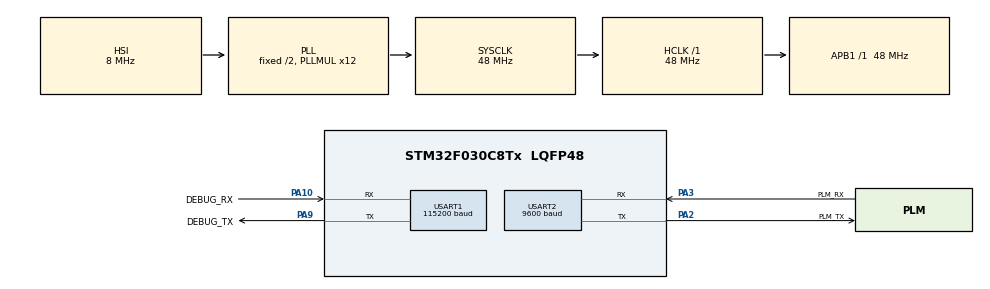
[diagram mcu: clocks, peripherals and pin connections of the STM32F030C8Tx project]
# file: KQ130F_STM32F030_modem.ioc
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Mcu.Family=STM32F0
Mcu.Name=STM32F030C8Tx
Mcu.Package=LQFP48
NVIC.TIM17_IRQn=true\:3\:0\:false\:false\:true\:false\:true\:true
NVIC.TimeBase=TIM17_IRQn
NVIC.TimeBaseIP=TIM17
NVIC.USART1_IRQn=true\:0\:0\:false\:false\:true\:true\:true\:true
NVIC.USART2_IRQn=true\:0\:0\:false\:false\:true\:true\:true\:true
PA10.GPIO_Label=DEBUG_RX
PA10.Mode=Asynchronous
PA10.Signal=USART1_RX
PA2.GPIO_Label=PLM_TX
PA2.Mode=Asynchronous
PA2.Signal=USART2_TX
PA3.GPIO_Label=PLM_RX
PA3.Mode=Asynchronous
PA3.Signal=USART2_RX
PA9.GPIO_Label=DEBUG_TX
PA9.Mode=Asynchronous
PA9.Signal=USART1_TX
ProjectManager.HeapSize=0x200
ProjectManager.StackSize=0x400
ProjectManager.TargetToolchain=STM32CubeIDE
RCC.AHBFreq_Value=48000000
RCC.APB1Freq_Value=48000000
RCC.APB1TimFreq_Value=48000000
RCC.HCLKFreq_Value=48000000
RCC.PLLMUL=RCC_PLL_MUL12
RCC.RTCClockSelection=RCC_RTCCLKSOURCE_LSE
RCC.SYSCLKFreq_VALUE=48000000
RCC.SYSCLKSource=RCC_SYSCLKSOURCE_PLLCLK
USART1.AutoBaudRateEnableParam=UART_ADVFEATURE_AUTOBAUDRATE_DISABLE
USART1.BaudRate=115200
USART1.Parity=PARITY_NONE
USART1.VirtualMode-Asynchronous=VM_ASYNC
USART2.BaudRate=9600
USART2.VirtualMode-Asynchronous=VM_ASYNC
VP_SYS_VS_tim17.Mode=TIM17
board=custom

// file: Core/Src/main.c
/* USER CODE BEGIN Header */
/**
  ******************************************************************************
  * @file           : main.c
  * @brief          : Main program body
  ******************************************************************************
  * @attention
  *
  * Copyright (c) 2022 STMicroelectronics.
  * All rights reserved.
  *
  * This software is licensed under terms that can be found in the LICENSE file
  * in the root directory of this software component.
  * If no LICENSE file comes with this software, it is provided AS-IS.
  *
  ******************************************************************************
  */
/* USER CODE END Header */
#include "main.h"

/* USER CODE BEGIN Includes */
#define BFR_SIZE 1800
#define FRM_SIZE 35
#define SFD 0xCD
#define EACH_RECV_LEN 1

/* USER CODE END Includes */

/* USER CODE BEGIN PTD */
typedef enum {
	toHeaderBeRx,
	toPayloadBeRx
} RxPhase;

typedef struct {
	uint8_t bf[BFR_SIZE];
	uint16_t datStart;
	uint16_t datEnd;
	volatile uint8_t txDone;
	volatile uint8_t rxDone;
	RxPhase rph;
} buffer_t;
/* USER CODE END PTD */

/* USER CODE BEGIN PM */
#define MD_UART huart2
#define PC_UART huart1
/* USER CODE END PM */

UART_HandleTypeDef huart1;
UART_HandleTypeDef huart2;

/* USER CODE BEGIN PV */
buffer_t toMdBf = {};
buffer_t toPcBf = {};

/* USER CODE END PV */

void SystemClock_Config(void);
static void MX_GPIO_Init(void);
static void MX_USART1_UART_Init(void);
static void MX_USART2_UART_Init(void);

/* USER CODE BEGIN 0 */
void HAL_UART_RxCpltCallback(UART_HandleTypeDef *huart)
{
	if (huart == &MD_UART)
		toPcBf.rxDone = 1;
	else
		toMdBf.rxDone = 1;
}

void HAL_UART_TxCpltCallback(UART_HandleTypeDef *huart)
{
	if (huart == &MD_UART)
		toMdBf.txDone = 1;
	else
		toPcBf.txDone = 1;
}

static inline void handleTransmissionToPL(UART_HandleTypeDef* uart, buffer_t* bfr) {
	if (!bfr->txDone)
		return;

	bfr->datStart += uart->TxXferSize;
	uart->TxXferSize = 0;
	if (bfr->datStart + 1 > bfr->datEnd)
		return;

	uint16_t len = 0;
	len = bfr->bf[bfr->datStart];
	if ((bfr->datEnd - bfr->datStart) < 1+len) {
		return;
	}

	HAL_UART_Transmit_IT(uart, (bfr->bf)+(bfr->datStart), 1+len);
	bfr->txDone = 0;

}

static inline void handleTransmissionToPc(UART_HandleTypeDef* uart, buffer_t* bfr) {
	if (!bfr->txDone)
		return;

	bfr->datStart += uart->TxXferSize;
	uart->TxXferSize = 0;
	if (bfr->datStart >= bfr->datEnd)
		return;

	uint16_t len = bfr->datEnd - bfr->datStart;
	HAL_UART_Transmit_IT(uart, (bfr->bf)+(bfr->datStart), len);
	bfr->txDone = 0;
}

static inline void handleBufferRecycle(UART_HandleTypeDef* uart, buffer_t* rxbfr) {
	if (rxbfr->datEnd + FRM_SIZE >= BFR_SIZE) {
	  rxbfr->datStart = rxbfr->datEnd = 0;
	  HAL_UART_Receive_IT(uart, (rxbfr->bf)+(rxbfr->datEnd), 1);
	  rxbfr->rxDone = 0;
	}
}

static inline void handleReceptionOfPC(UART_HandleTypeDef* uart, buffer_t* rxbfr) {
	if (!rxbfr->rxDone)
		return;
	rxbfr->datEnd += uart->RxXferSize;
	rxbfr->rph = (rxbfr->rph == toHeaderBeRx) ? toPayloadBeRx : toHeaderBeRx;
	if (rxbfr->datEnd + FRM_SIZE >= BFR_SIZE)
		return;

	uint16_t len = 0;
	if (rxbfr->rph == toPayloadBeRx) {
		if (rxbfr->datStart < rxbfr->datEnd) {
			len = rxbfr->bf[rxbfr->datStart];
			if (len == 0) {
				rxbfr->datStart += 1;
				len = 1;
			}
		}

	} else if (rxbfr->rph == toHeaderBeRx) {
		len = 1;
	}

    HAL_UART_Receive_IT(uart, rxbfr->bf+(rxbfr->datEnd), len);
	rxbfr->rxDone = 0;
}

static inline void handleReceptionOfPL(UART_HandleTypeDef* uart, buffer_t* rxbfr) {
	if (!rxbfr->rxDone)
		return;
	rxbfr->datEnd += uart->RxXferSize;
	if (rxbfr->datEnd >= BFR_SIZE)
		return;

    HAL_UART_Receive_IT(uart, rxbfr->bf+(rxbfr->datEnd), 1);
	rxbfr->rxDone = 0;
}

/* USER CODE END 0 */

int main(void)
{

  /* MCU Configuration--------------------------------------------------------*/

  /* Reset of all peripherals, Initializes the Flash interface and the Systick. */
  HAL_Init();

  /* Configure the system clock */
  SystemClock_Config();

  /* Initialize all configured peripherals */
  MX_GPIO_Init();
  MX_USART1_UART_Init();
  MX_USART2_UART_Init();
  /* USER CODE BEGIN 2 */

  toMdBf.txDone = 1;
  toPcBf.rxDone = 0;
  toPcBf.rph = toHeaderBeRx;

  toPcBf.txDone = 1;
  toMdBf.rxDone = 0;
  toMdBf.rph = toHeaderBeRx;

  PC_UART.TxXferSize = 0;
  MD_UART.TxXferSize = 0;

  HAL_UART_Receive_IT(&PC_UART, toMdBf.bf, 1);
  HAL_UART_Receive_IT(&MD_UART, toPcBf.bf, 1);

  /* USER CODE END 2 */

  /* Infinite loop */
  /* USER CODE BEGIN WHILE */
  while (1)
  {
	  handleReceptionOfPC(&PC_UART, &toMdBf);
	  handleReceptionOfPL(&MD_UART, &toPcBf);

	  handleTransmissionToPc(&PC_UART, &toPcBf);
	  handleTransmissionToPL(&MD_UART, &toMdBf);

	  handleBufferRecycle(&MD_UART, &toPcBf);
	  handleBufferRecycle(&PC_UART, &toMdBf);

    /* USER CODE END WHILE */

  }
}

void SystemClock_Config(void)
{
  RCC_OscInitTypeDef RCC_OscInitStruct = {0};
  RCC_ClkInitTypeDef RCC_ClkInitStruct = {0};
  RCC_PeriphCLKInitTypeDef PeriphClkInit = {0};

  /** Initializes the RCC Oscillators according to the specified parameters
  * in the RCC_OscInitTypeDef structure.
  */
  RCC_OscInitStruct.OscillatorType = RCC_OSCILLATORTYPE_HSI;
  RCC_OscInitStruct.HSIState = RCC_HSI_ON;
  RCC_OscInitStruct.HSICalibrationValue = RCC_HSICALIBRATION_DEFAULT;
  RCC_OscInitStruct.PLL.PLLState = RCC_PLL_ON;
  RCC_OscInitStruct.PLL.PLLSource = RCC_PLLSOURCE_HSI;
  RCC_OscInitStruct.PLL.PLLMUL = RCC_PLL_MUL12;
  RCC_OscInitStruct.PLL.PREDIV = RCC_PREDIV_DIV1;
  if (HAL_RCC_OscConfig(&RCC_OscInitStruct) != HAL_OK)
  {
    Error_Handler();
  }

  /** Initializes the CPU, AHB and APB buses clocks
  */
  RCC_ClkInitStruct.ClockType = RCC_CLOCKTYPE_HCLK|RCC_CLOCKTYPE_SYSCLK
                              |RCC_CLOCKTYPE_PCLK1;
  RCC_ClkInitStruct.SYSCLKSource = RCC_SYSCLKSOURCE_PLLCLK;
  RCC_ClkInitStruct.AHBCLKDivider = RCC_SYSCLK_DIV1;
  RCC_ClkInitStruct.APB1CLKDivider = RCC_HCLK_DIV1;

  if (HAL_RCC_ClockConfig(&RCC_ClkInitStruct, FLASH_LATENCY_1) != HAL_OK)
  {
    Error_Handler();
  }
  PeriphClkInit.PeriphClockSelection = RCC_PERIPHCLK_USART1;
  PeriphClkInit.Usart1ClockSelection = RCC_USART1CLKSOURCE_PCLK1;
  if (HAL_RCCEx_PeriphCLKConfig(&PeriphClkInit) != HAL_OK)
  {
    Error_Handler();
  }
}

static void MX_USART1_UART_Init(void)
{

  huart1.Instance = USART1;
  huart1.Init.BaudRate = 115200;
  huart1.Init.WordLength = UART_WORDLENGTH_8B;
  huart1.Init.StopBits = UART_STOPBITS_1;
  huart1.Init.Parity = UART_PARITY_NONE;
  huart1.Init.Mode = UART_MODE_TX_RX;
  huart1.Init.HwFlowCtl = UART_HWCONTROL_NONE;
  huart1.Init.OverSampling = UART_OVERSAMPLING_16;
  huart1.Init.OneBitSampling = UART_ONE_BIT_SAMPLE_DISABLE;
  huart1.AdvancedInit.AdvFeatureInit = UART_ADVFEATURE_NO_INIT;
  if (HAL_UART_Init(&huart1) != HAL_OK)
  {
    Error_Handler();
  }

}

static void MX_USART2_UART_Init(void)
{

  huart2.Instance = USART2;
  huart2.Init.BaudRate = 9600;
  huart2.Init.WordLength = UART_WORDLENGTH_8B;
  huart2.Init.StopBits = UART_STOPBITS_1;
  huart2.Init.Parity = UART_PARITY_NONE;
  huart2.Init.Mode = UART_MODE_TX_RX;
  huart2.Init.HwFlowCtl = UART_HWCONTROL_NONE;
  huart2.Init.OverSampling = UART_OVERSAMPLING_16;
  huart2.Init.OneBitSampling = UART_ONE_BIT_SAMPLE_DISABLE;
  huart2.AdvancedInit.AdvFeatureInit = UART_ADVFEATURE_NO_INIT;
  if (HAL_UART_Init(&huart2) != HAL_OK)
  {
    Error_Handler();
  }

}

static void MX_GPIO_Init(void)
{
  GPIO_InitTypeDef GPIO_InitStruct = {0};

  /* GPIO Ports Clock Enable */
  __HAL_RCC_GPIOC_CLK_ENABLE();
  __HAL_RCC_GPIOF_CLK_ENABLE();
  __HAL_RCC_GPIOA_CLK_ENABLE();
  __HAL_RCC_GPIOB_CLK_ENABLE();

  /*Configure GPIO pins : PC13 PC14 PC15 */
  GPIO_InitStruct.Pin = GPIO_PIN_13|GPIO_PIN_14|GPIO_PIN_15;
  GPIO_InitStruct.Mode = GPIO_MODE_ANALOG;
  GPIO_InitStruct.Pull = GPIO_NOPULL;
  HAL_GPIO_Init(GPIOC, &GPIO_InitStruct);

  /*Configure GPIO pins : PF0 PF1 PF6 PF7 */
  GPIO_InitStruct.Pin = GPIO_PIN_0|GPIO_PIN_1|GPIO_PIN_6|GPIO_PIN_7;
  GPIO_InitStruct.Mode = GPIO_MODE_ANALOG;
  GPIO_InitStruct.Pull = GPIO_NOPULL;
  HAL_GPIO_Init(GPIOF, &GPIO_InitStruct);

  /*Configure GPIO pins : PA0 PA1 PA4 PA5
                           PA6 PA7 PA8 PA11
                           PA12 PA13 PA14 PA15 */
  GPIO_InitStruct.Pin = GPIO_PIN_0|GPIO_PIN_1|GPIO_PIN_4|GPIO_PIN_5
                          |GPIO_PIN_6|GPIO_PIN_7|GPIO_PIN_8|GPIO_PIN_11
                          |GPIO_PIN_12|GPIO_PIN_13|GPIO_PIN_14|GPIO_PIN_15;
  GPIO_InitStruct.Mode = GPIO_MODE_ANALOG;
  GPIO_InitStruct.Pull = GPIO_NOPULL;
  HAL_GPIO_Init(GPIOA, &GPIO_InitStruct);

  /*Configure GPIO pins : PB0 PB1 PB2 PB10
                           PB11 PB12 PB13 PB14
                           PB15 PB3 PB4 PB5
                           PB6 PB7 PB8 PB9 */
  GPIO_InitStruct.Pin = GPIO_PIN_0|GPIO_PIN_1|GPIO_PIN_2|GPIO_PIN_10
                          |GPIO_PIN_11|GPIO_PIN_12|GPIO_PIN_13|GPIO_PIN_14
                          |GPIO_PIN_15|GPIO_PIN_3|GPIO_PIN_4|GPIO_PIN_5
                          |GPIO_PIN_6|GPIO_PIN_7|GPIO_PIN_8|GPIO_PIN_9;
  GPIO_InitStruct.Mode = GPIO_MODE_ANALOG;
  GPIO_InitStruct.Pull = GPIO_NOPULL;
  HAL_GPIO_Init(GPIOB, &GPIO_InitStruct);

}

void HAL_TIM_PeriodElapsedCallback(TIM_HandleTypeDef *htim)
{
  if (htim->Instance == TIM17) {
    HAL_IncTick();
  }
}

void Error_Handler(void)
{
  __disable_irq();
  while (1)
  {
  }
}
